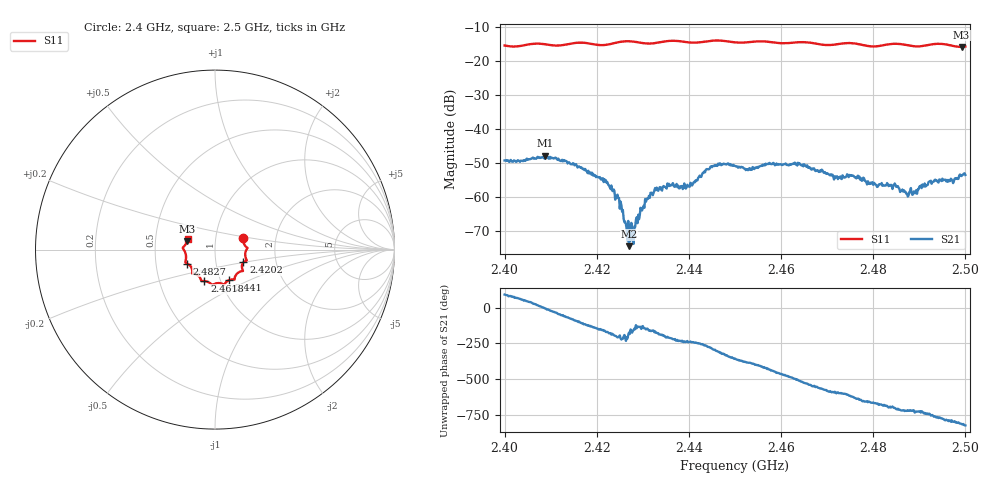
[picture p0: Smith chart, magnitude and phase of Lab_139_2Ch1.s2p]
# Hz S RI R 50
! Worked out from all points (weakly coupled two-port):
!   601 points, 2.4 GHz to 2.5 GHz, reference 50 ohm
!   highest |S21| = -47.70 dB at 2.4088 GHz (marker M1); lowest = -74.3 dB at 2.427 GHz (marker M2)
!   lowest |S11| = -15.8 dB at 2.4992 GHz (marker M3), VSWR 1.39, Z = 36.4 + j3.64 ohm
!   |S11| at or under -10 dB: start of sweep to end of sweep
!   S12 and S22 are empty: the file has one direction only
!   S11 on the Smith chart (normalised r, x): 2.4 GHz: 1.36, +0.18; 2.4202 GHz: 1.36, -0.20; 2.441 GHz: 1.10, -0.39; 2.4618 GHz: 0.84, -0.30; 2.4827 GHz: 0.72, -0.12; 2.5 GHz: 0.73, +0.09
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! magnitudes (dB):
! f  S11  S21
! 2.4 GHz  -15.4  -49.2
! 2.4088 GHz  -15.0  -47.7
! 2.4167 GHz  -14.5  -51.2
! 2.4202 GHz  -15.2  -53.9
! 2.4222 GHz  -15.2  -55.8
! 2.4248 GHz  -14.4  -60.2
! 2.4265 GHz  -14.1  -69.5
! 2.427 GHz  -14.1  -74.3
! 2.4275 GHz  -14.2  -67.5
! 2.431 GHz  -14.8  -60.2
! 2.4333 GHz  -14.5  -58.1
! 2.441 GHz  -14.6  -55.6
! 2.4452 GHz  -14.0  -50.8
! 2.45 GHz  -14.5  -50.8
! 2.4618 GHz  -14.7  -50.4
! 2.4667 GHz  -14.6  -51.8
! 2.4827 GHz  -15.2  -56.5
! 2.4833 GHz  -15.0  -56.7
! 2.489 GHz  -15.6  -58.6
! 2.4925 GHz  -15.1  -55.1
! 2.4992 GHz  -15.8  -53.7
! 2.5 GHz  -15.7  -53.4
